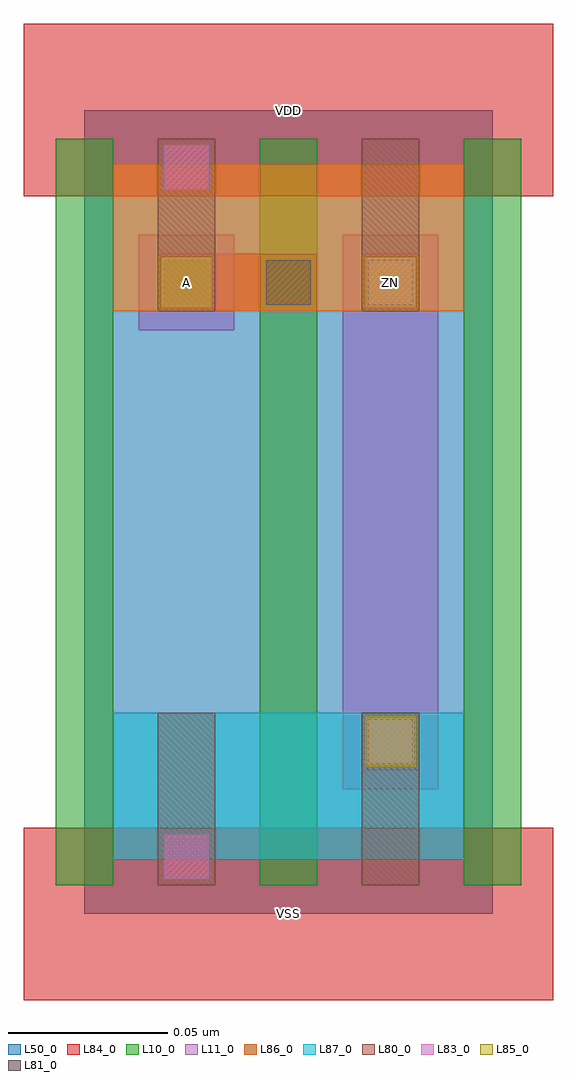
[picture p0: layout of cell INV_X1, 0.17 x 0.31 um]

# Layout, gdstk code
import gdstk
lib = gdstk.Library(unit=1e-6, precision=1e-09)
def R(c, l, rs):  # rectangles x0, y0, x1, y1
    for r in rs: c.add(gdstk.rectangle(r[:2], r[2:], *l))
def A(c, l, x, y, w, h, nx, ny, dx, dy):  # array of equal rectangles
    R(c, l, [(x+i*dx, y+j*dy, x+i*dx+w, y+j*dy+h) for i in range(nx) for j in range(ny)])
L10_0 = (10, 0)
L11_0 = (11, 0)
L50_0 = (50, 0)
L80_0 = (80, 0)
L81_0 = (81, 0)
L83_0 = (83, 0)
L84_0 = (84, 0)
L85_0 = (85, 0)
L86_0 = (86, 0)
L87_0 = (87, 0)

inv_x1 = lib.new_cell('INV_X1')
A(inv_x1, L10_0, -0.009, 0.009, 0.018, 0.234, 3, 1, 0.064, 0)
R(inv_x1, L11_0, [(0.081,0.039,0.111,0.213), (0.017,0.183,0.047,0.213)])
R(inv_x1, L50_0, [(0,0,0.128,0.252)])
R(inv_x1, L80_0, [(0.023,0.009,0.041,0.063), (0.087,0.009,0.105,0.063), (0.023,0.189,0.041,0.243), (0.087,0.189,0.105,0.243)])
R(inv_x1, L81_0, [(0.057,0.191,0.071,0.205)])
R(inv_x1, L83_0, [(0.025,0.011,0.039,0.025), (0.089,0.047,0.103,0.061), (0.089,0.191,0.103,0.205), (0.025,0.227,0.039,0.241)])
R(inv_x1, L84_0, [(-0.019,-0.027,0.147,0.027), (0.087,0.045,0.105,0.063), (0.023,0.189,0.073,0.207), (0.087,0.189,0.105,0.207), (-0.019,0.225,0.147,0.279)])
R(inv_x1, L85_0, [(0.088,0.046,0.104,0.062), (0.024,0.19,0.04,0.206), (0.088,0.19,0.104,0.206)])
R(inv_x1, L86_0, [(0.009,0.189,0.119,0.235)])
R(inv_x1, L87_0, [(0.009,0.017,0.119,0.063)])
inv_x1.add(gdstk.Label('VDD', (0.064,0.252), layer=88, texttype=0))
inv_x1.add(gdstk.Label('VSS', (0.064,0), layer=88, texttype=0))
inv_x1.add(gdstk.Label('ZN', (0.096,0.198), layer=31, texttype=0))
inv_x1.add(gdstk.Label('A', (0.032,0.198), layer=31, texttype=0))

lib.write_gds('INV_X1.gds')
